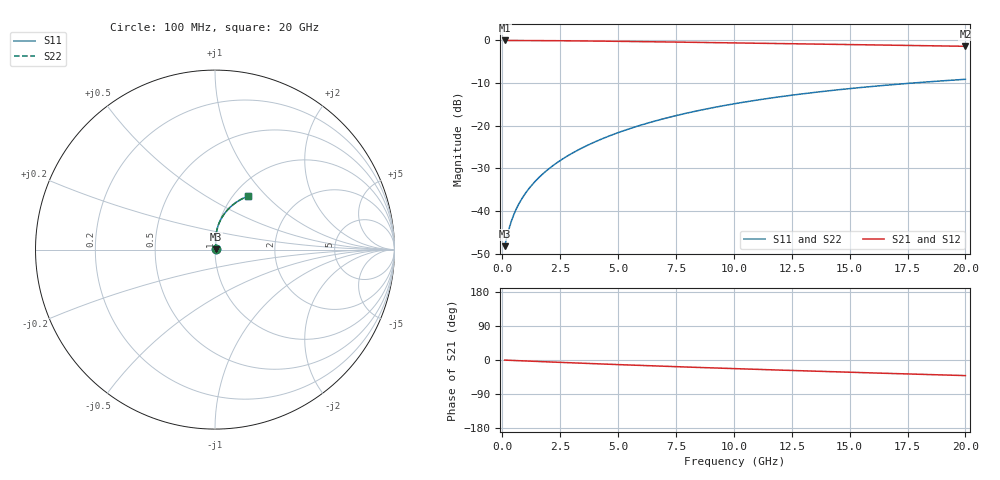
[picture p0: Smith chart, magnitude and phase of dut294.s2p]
! Touchstone file exported from HFSS 2024.1.0
!  File:  C:/UserFiles/LocalFiles/RDL_TSV_Batchsim/temp_RDL_top_294_1778690570.aedt
!  Generated:  12:45:18 AM May 14, 2026
!  Design:  RDL_top
!  Project:  temp_RDL_top_294_1778690570
!  Setup:  Setup1
!  Solution:  Sweep
! Variables:
!  dtsv = 10.80580581um
!  hbump = 3um
!  htsv = 59.79um
!  ldown = 100um
!  lrdl = 590.05um
!  p = 40
!  p1 = 51.3um
!  rhole = 1um
!  t = 450um
!  tdown = 3.915915916um
!  trdl = 2.55um
!  wdown = 15.38538539um
!  wrdl = 26.09um
# GHz S MA R 50.000000
! Terminal data exported
! Port[1] = Box2_T1
! Port[2] = Box2_T2
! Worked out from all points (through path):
!   200 points, 100 MHz to 20 GHz, reference 50 ohm
!   highest |S21| = -0.03 dB at 100 MHz (marker M1); lowest = -1.4 dB at 20 GHz (marker M2)
!   group delay of S21, straight-line fit = 5.65 ps
!   lowest |S11| = -48.2 dB at 100 MHz (marker M3), VSWR 1.01, Z = 50.3 + j0.177 ohm
!   |S11| at or under -10 dB: start of sweep to 17.74 GHz
!   |S22| runs from -48.2 to -9.1 dB; largest |S21 - S12| = 2e-15
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0.1  0.003868 27.1  0.9965 -0.3  0.9965 -0.3  0.003868 27.1
! Gamma 0 0 0 0
! Port Impedance 50 0 50 0
0.3  0.00632 53.6  0.9961 -0.8  0.9961 -0.8  0.00632 53.6
0.4  0.007709 59.5  0.9959 -1.0  0.9959 -1.0  0.007709 59.5
0.5  0.009102 63.6  0.9956 -1.3  0.9956 -1.3  0.009102 63.6
0.6  0.01049 66.7  0.9954 -1.6  0.9954 -1.6  0.01049 66.7
0.8  0.01329 71.2  0.9949 -2.1  0.9949 -2.1  0.01329 71.2
1  0.01613 74.4  0.9944 -2.6  0.9944 -2.6  0.01613 74.4
1.2  0.01901 76.8  0.9939 -3.0  0.9939 -3.0  0.01901 76.8
1.7  0.02646 80.8  0.9924 -4.3  0.9924 -4.3  0.02646 80.8
2.2  0.03421 83.2  0.9904 -5.5  0.9904 -5.5  0.03421 83.2
2.8  0.0439 84.8  0.9876 -7.0  0.9876 -7.0  0.04391 84.9
3.5  0.05573 85.8  0.9837 -8.7  0.9837 -8.7  0.05574 85.9
4.2  0.06809 86.1  0.9792 -10.3  0.9792 -10.3  0.0681 86.2
5  0.08277 85.9  0.9736 -12.1  0.9736 -12.1  0.08278 85.9
5.9  0.09984 85.1  0.9668 -14.2  0.9668 -14.2  0.09986 85.2
6.8  0.1173 84.0  0.9597 -16.1  0.9597 -16.1  0.1173 84.0
8.4  0.1488 81.2  0.9467 -19.5  0.9467 -19.5  0.1489 81.3
10.1  0.1821 77.9  0.9326 -22.9  0.9326 -22.9  0.1821 77.9
11.7  0.2126 74.6  0.9193 -26.1  0.9193 -26.1  0.2127 74.7
13.4  0.2438 71.1  0.9051 -29.3  0.9051 -29.3  0.2439 71.1
16.7  0.2999 64.5  0.8779 -35.4  0.8779 -35.4  0.3 64.5
20  0.3495 58.2  0.8512 -41.1  0.8512 -41.1  0.3496 58.2
